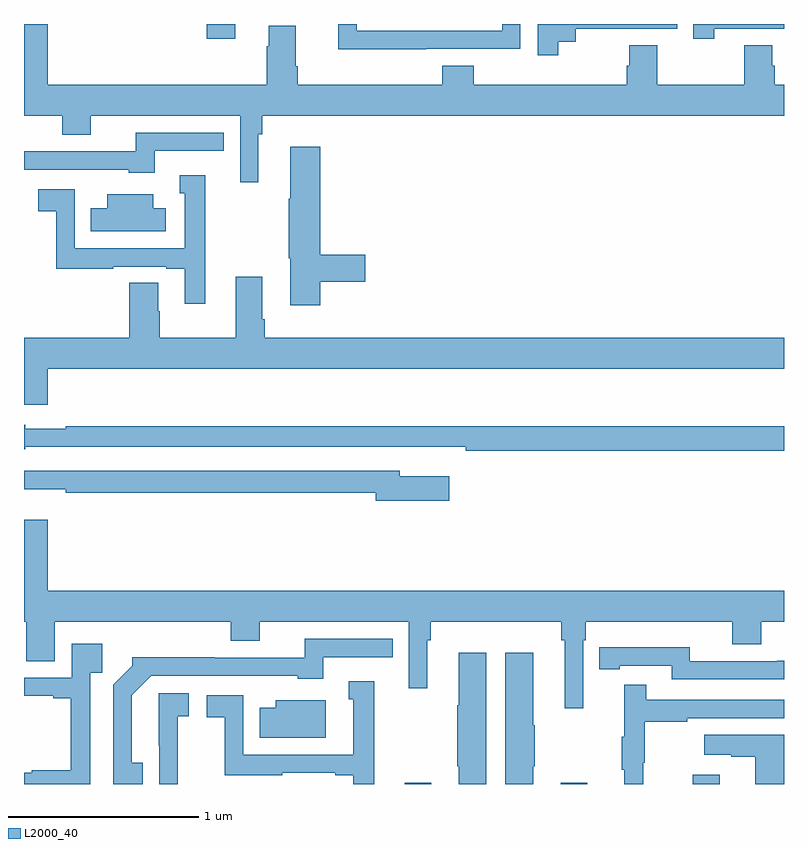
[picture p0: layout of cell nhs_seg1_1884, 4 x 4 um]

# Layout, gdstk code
import gdstk
lib = gdstk.Library(unit=1e-6, precision=1e-09)
def R(c, l, rs):  # rectangles x0, y0, x1, y1
    for r in rs: c.add(gdstk.rectangle(r[:2], r[2:], *l))
def P(c, l, *ps):  # polygons
    for p in ps: c.add(gdstk.Polygon(p, *l))
L2000_40 = (2000, 40)

nhs_seg1_1884 = lib.new_cell('nhs_seg1_1884')
R(nhs_seg1_1884, L2000_40, [(215.003,564.199,215.143,564.205), (215.825,564.199,215.965,564.205), (216.521,564.199,216.661,564.247), (213.963,568.122,214.111,568.199)])
P(nhs_seg1_1884, L2000_40, [(215.812,568.105),(215.904,568.105),(215.904,568.173),(216.438,568.173),(216.438,568.199),(215.703,568.199),(215.703,568.035),(215.812,568.035)],
  [(216.634,568.173),(217,568.173),(217,568.199),(216.523,568.199),(216.523,568.122),(216.634,568.122)],
  [(215.117,568.068),(215.613,568.068),(215.613,568.199),(215.517,568.199),(215.517,568.164),(214.752,568.164),(214.752,568.199),(214.654,568.199),(214.654,568.067),(215.117,568.067)],
  [(214.234,567.62),(214.253,567.62),(214.253,567.716),(217,567.716),(217,567.88),(216.95,567.88),(216.95,567.978),(216.937,567.978),(216.937,568.088),(216.79,568.088),(216.79,567.88),(216.333,567.88),(216.333,568.088),(216.185,568.088),(216.185,567.978),(216.173,567.978),(216.173,567.88),(215.366,567.88),(215.366,567.979),(215.201,567.979),(215.201,567.88),(214.442,567.88),(214.442,567.976),(214.429,567.976),(214.429,568.189),(214.289,568.189),(214.289,568.082),(214.277,568.082),(214.277,567.88),(213.124,567.88),(213.124,568.199),(213,568.199),(213,567.716),(213.2,567.716),(213.2,567.617),(213.352,567.617),(213.352,567.716),(214.137,567.716),(214.137,567.366),(214.234,567.366)],
  [(213.688,567.531),(214.052,567.531),(214.052,567.627),(213.589,567.627),(213.589,567.528),(213.116,567.528),(213.116,567.53),(213,567.53),(213,567.432),(213.552,567.432),(213.552,567.416),(213.688,567.416)],
  [(214.559,566.842),(214.795,566.842),(214.795,566.984),(214.559,566.984),(214.559,567.553),(214.4,567.553),(214.4,567.278),(214.393,567.278),(214.393,566.967),(214.4,566.967),(214.4,566.718),(214.559,566.718)],
  [(213.955,567.403),(213.821,567.403),(213.821,567.309),(213.846,567.309),(213.846,567.018),(213.267,567.018),(213.267,567.33),(213.075,567.33),(213.075,567.214),(213.169,567.214),(213.169,566.91),(213.47,566.91),(213.47,566.922),(213.749,566.922),(213.749,566.91),(213.845,566.91),(213.845,566.727),(213.955,566.727)],
  [(213.745,567.229),(213.679,567.229),(213.679,567.304),(213.437,567.304),(213.437,567.229),(213.352,567.229),(213.352,567.107),(213.745,567.107)],
  [(213.124,566.384),(217,566.384),(217,566.548),(214.268,566.548),(214.268,566.644),(214.255,566.644),(214.255,566.869),(214.115,566.869),(214.115,566.548),(213.714,566.548),(213.714,566.687),(213.706,566.687),(213.706,566.837),(213.554,566.837),(213.554,566.548),(213,566.548),(213,566.196),(213.124,566.196)],
  [(217,566.083),(213.22,566.083),(213.22,566.07),(213.006,566.07),(213.006,566.091),(213,566.091),(213,565.961),(213.006,565.961),(213.006,565.974),(215.074,565.974),(215.074,565.973),(215.326,565.973),(215.326,565.954),(217,565.954)],
  [(215.239,565.819),(214.978,565.819),(214.978,565.848),(213,565.848),(213,565.751),(213.22,565.751),(213.22,565.732),(214.85,565.732),(214.85,565.69),(215.239,565.69)],
  [(215.943,564.956),(215.957,564.956),(215.957,565.052),(216.728,565.052),(216.728,564.935),(216.881,564.935),(216.881,565.052),(217,565.052),(217,565.216),(213.124,565.216),(213.124,565.591),(213,565.591),(213,565.052),(213.011,565.052),(213.011,564.844),(213.163,564.844),(213.163,565.052),(214.088,565.052),(214.088,564.953),(214.24,564.953),(214.24,565.052),(215.025,565.052),(215.025,564.702),(215.122,564.702),(215.122,564.956),(215.141,564.956),(215.141,565.052),(215.827,565.052),(215.827,564.956),(215.846,564.956),(215.846,564.597),(215.943,564.597)],
  [(213.626,564.311),(213.568,564.311),(213.568,564.667),(213.669,564.768),(214.44,564.768),(214.44,564.752),(214.576,564.752),(214.576,564.867),(214.94,564.867),(214.94,564.963),(214.477,564.963),(214.477,564.864),(214.004,564.864),(214.004,564.866),(213.57,564.866),(213.57,564.821),(213.471,564.722),(213.471,564.199),(213.626,564.199)],
  [(213.348,564.785),(213.413,564.785),(213.413,564.937),(213.252,564.937),(213.252,564.759),(213,564.759),(213,564.663),(213.155,564.663),(213.155,564.651),(213.247,564.651),(213.247,564.271),(213.041,564.271),(213.041,564.259),(213,564.259),(213,564.199),(213.348,564.199)],
  [(217,564.848),(216.964,564.848),(216.964,564.846),(216.504,564.846),(216.504,564.919),(216.136,564.919),(216.136,564.918),(216.028,564.918),(216.028,564.802),(216.136,564.802),(216.136,564.822),(216.408,564.822),(216.408,564.75),(217,564.75)],
  [(215.68,564.292),(215.688,564.292),(215.688,564.509),(215.68,564.509),(215.68,564.889),(215.534,564.889),(215.534,564.199),(215.68,564.199)],
  [(215.434,564.889),(215.288,564.889),(215.288,564.614),(215.281,564.614),(215.281,564.292),(215.288,564.292),(215.288,564.199),(215.434,564.199)],
  [(214.843,564.739),(214.709,564.739),(214.709,564.645),(214.733,564.645),(214.733,564.354),(214.155,564.354),(214.155,564.666),(213.963,564.666),(213.963,564.55),(214.057,564.55),(214.057,564.246),(214.358,564.246),(214.358,564.258),(214.637,564.258),(214.637,564.246),(214.733,564.246),(214.733,564.199),(214.843,564.199)],
  [(216.26,564.312),(216.268,564.312),(216.268,564.526),(216.491,564.526),(216.491,564.546),(217,564.546),(217,564.642),(216.275,564.642),(216.275,564.721),(216.158,564.721),(216.158,564.449),(216.147,564.449),(216.147,564.275),(216.158,564.275),(216.158,564.199),(216.26,564.199)],
  [(213.81,564.555),(213.868,564.555),(213.868,564.676),(213.71,564.676),(213.71,564.4),(213.711,564.4),(213.711,564.199),(213.81,564.199)],
  [(214.588,564.64),(214.325,564.64),(214.325,564.601),(214.24,564.601),(214.24,564.443),(214.588,564.443)],
  [(217,564.457),(216.579,564.457),(216.579,564.353),(216.722,564.353),(216.722,564.343),(216.848,564.343),(216.848,564.199),(217,564.199)])

lib.write_gds('nhs_seg1_1884.gds')
